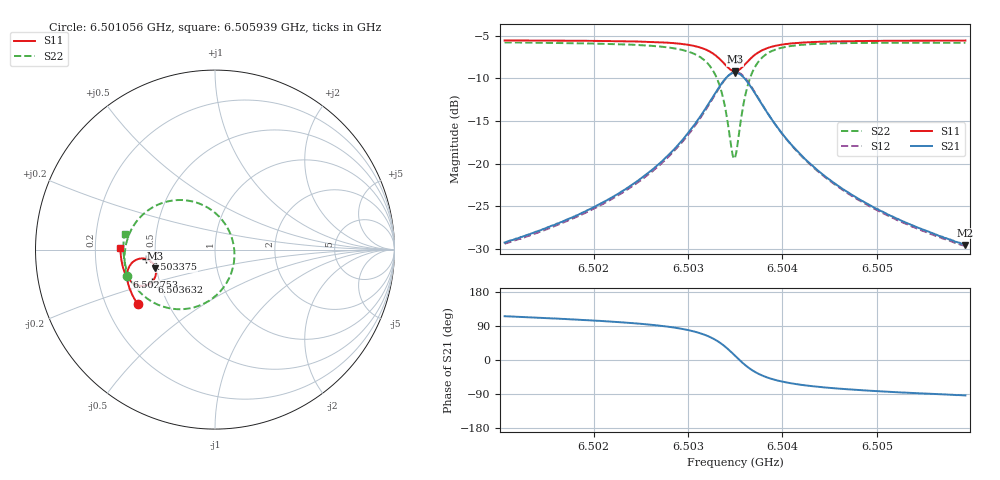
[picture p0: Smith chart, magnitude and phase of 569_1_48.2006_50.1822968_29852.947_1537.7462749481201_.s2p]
#  HZ  S  RI  R  50.00
! Rohde & Schwarz Vector Network Analyzer
! Rohde-Schwarz,ZNB20-2Port,1311601062101988,3.16
! Created: UTC 3/20/2024, 12:01:36 PM
! freq[Hz]  re:S11  im:S11  re:S21  im:S21  re:S12  im:S12  re:S22  im:S22
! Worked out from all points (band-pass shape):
!   401 points, 6.501056 GHz to 6.505939 GHz, reference 50 ohm
!   highest |S21| = -9.34 dB at 6.503497 GHz (marker M1); lowest = -29.5 dB at 6.505939 GHz (marker M2)
!   |S21| within 3 dB of the highest: 6.503254 GHz to 6.503742 GHz (488 kHz wide, 0.0075 % of centre)
!   lowest |S11| = -9.2 dB at 6.503497 GHz (marker M3), VSWR 2.07, Z = 24.6 - j5.77 ohm
!   |S11| at or under -10 dB: nowhere
!   |S22| runs from -19.4 to -5.8 dB; largest |S21 - S12| = 0.012
!   S11 on the Smith chart (normalised r, x): 6.501056 GHz: 0.34, -0.28; 6.502753 GHz: 0.33, -0.14; 6.503375 GHz: 0.44, -0.05; 6.503632 GHz: 0.45, -0.19; 6.505939 GHz: 0.31, +0.01
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6.5010564e9  -0.431 -0.3035  -0.0148 0.0311  -0.0131 0.0312  -0.4922 -0.1461
6.5018742e9  -0.4655 -0.242  -0.014 0.0494  -0.0116 0.0488  -0.5038 -0.0576
6.502338e9  -0.4813 -0.2002  -0.0107 0.07  -0.00776 0.0689  -0.4994 0.0102
6.5026919e9  -0.4892 -0.1598  -0.00139 0.0995  0.00219 0.0972  -0.4789 0.0839
6.502753e9  -0.4896 -0.1515  0.00181 0.1068  0.00542 0.1042  -0.4718 0.1
6.5029727e9  -0.486 -0.1164  0.024 0.1423  0.0276 0.1382  -0.4254 0.171
6.5031313e9  -0.4713 -0.0842  0.0636 0.1786  0.0664 0.173  -0.3487 0.2348
6.5032778e9  -0.4333 -0.0543  0.1459 0.2076  0.1463 0.2016  -0.199 0.2762
6.5033266e9  -0.4118 -0.0493  0.1887 0.2064  0.1886 0.2009  -0.124 0.2678
6.5033754e9  -0.3863 -0.0513  0.2379 0.1911  0.2379 0.1868  -0.0398 0.2334
6.5034609e9  -0.3429 -0.0806  0.3169 0.1163  0.3193 0.1125  0.0866 0.086
6.5034975e9  -0.3318 -0.103  0.3347 0.0671  0.3386 0.062  0.1077 -0.00639
6.5035219e9  -0.3288 -0.1193  0.3384 0.0322  0.3426 0.0259  0.1057 -0.0703
6.5035585e9  -0.3308 -0.1437  0.3312 -0.0185  0.3349 -0.0269  0.0783 -0.1602
6.5036318e9  -0.3532 -0.1813  0.284 -0.0958  0.2844 -0.1069  -0.0325 -0.2846
6.5037416e9  -0.3993 -0.2018  0.1962 -0.1414  0.1914 -0.1512  -0.2103 -0.332
6.5039003e9  -0.4469 -0.1923  0.1116 -0.1376  0.1046 -0.1428  -0.3627 -0.2829
6.5040712e9  -0.4751 -0.1709  0.0656 -0.1164  0.0594 -0.1187  -0.4369 -0.216
6.5043153e9  -0.4962 -0.1411  0.0348 -0.091  0.03 -0.0915  -0.4813 -0.1422
6.5046936e9  -0.5123 -0.101  0.0149 -0.0663  0.0117 -0.0658  -0.5046 -0.0644
6.505133e9  -0.5214 -0.0597  0.00516 -0.0496  0.00302 -0.0491  -0.5107 -0.000764
6.5059386e9  -0.5265 0.009  -0.00207 -0.0333  -0.00334 -0.0326  -0.5034 0.0863
